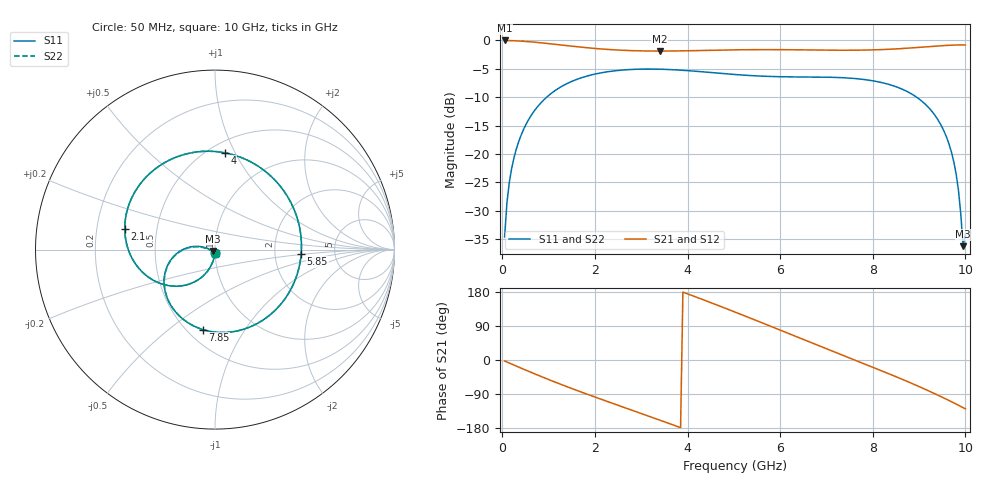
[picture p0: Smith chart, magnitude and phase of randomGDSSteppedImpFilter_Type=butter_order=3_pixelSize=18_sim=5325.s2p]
! freq	dB(S11)	phase(S11)	dB(S12)	phase(S12)
!  dB(S21)	phase(S21)	dB(S22)	phase(S22)
!S-par simulation data
#  GHz  S  DB  R 50
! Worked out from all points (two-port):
!   200 points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, 50 MHz to 10 GHz, reference 50 ohm
!   highest |S21| = 0.00 dB at 50 MHz (marker M1); lowest = -1.9 dB at 3.4 GHz (marker M2)
!   |S21| within 3 dB of the highest: start of sweep to end of sweep
!   lowest |S11| = -36.2 dB at 9.95 GHz (marker M3), VSWR 1.03, Z = 48.7 - j0.806 ohm
!   |S11| at or under -10 dB: start of sweep to 957.9 MHz; 8.948 GHz to end of sweep
!   |S22| runs from -34.8 to -5.0 dB; largest |S21 - S12| = 0
!   S11 on the Smith chart (normalised r, x): 50 MHz: 1.00, -0.04; 2.1 GHz: 0.32, +0.10; 4 GHz: 0.60, +0.91; 5.85 GHz: 2.84, -0.18; 7.85 GHz: 0.59, -0.66; 10 GHz: 1.01, -0.04
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0.05  -34.61 -92.7  -0.00 -2.7  -0.00 -2.7  -34.61 -92.7
0.1  -28.60 -95.6  -0.01 -5.4  -0.01 -5.4  -28.60 -95.6
0.2  -22.65 -101.1  -0.04 -10.7  -0.04 -10.7  -22.65 -101.1
0.5  -14.98 -116.9  -0.18 -26.4  -0.18 -26.4  -14.98 -116.9
1.1  -9.06 -147.0  -0.65 -56.4  -0.65 -56.4  -9.06 -147.0
1.75  -6.47 -177.3  -1.22 -86.6  -1.22 -86.6  -6.47 -177.2
2.1  -5.76 167.3  -1.48 -102.1  -1.48 -102.1  -5.76 167.3
3.4  -5.07 111.0  -1.87 -158.5  -1.87 -158.5  -5.07 111.0
4  -5.32 84.3  -1.82 174.6  -1.82 174.6  -5.32 84.4
4.5  -5.65 61.4  -1.74 151.5  -1.74 151.5  -5.65 61.5
5.05  -6.02 35.5  -1.65 125.3  -1.65 125.3  -6.02 35.7
5.85  -6.36 -2.8  -1.62 86.3  -1.62 86.3  -6.36 -2.6
6.7  -6.45 -43.8  -1.68 44.5  -1.68 44.5  -6.44 -43.5
7.3  -6.55 -72.5  -1.73 15.2  -1.73 15.2  -6.54 -72.2
7.85  -6.92 -98.8  -1.69 -11.7  -1.69 -11.7  -6.92 -98.4
8.35  -7.75 -122.9  -1.56 -36.4  -1.56 -36.4  -7.75 -122.6
9  -10.31 -155.5  -1.22 -70.1  -1.22 -70.1  -10.30 -155.0
9.55  -16.19 176.2  -0.90 -101.2  -0.90 -101.2  -16.17 177.2
9.8  -23.52 168.0  -0.81 -116.3  -0.81 -116.3  -23.41 170.4
9.9  -30.51 177.8  -0.79 -122.6  -0.79 -122.6  -30.05 -177.6
9.95  -36.24 -147.5  -0.79 -125.7  -0.79 -125.7  -34.81 -144.2
10  -34.08 -81.2  -0.79 -128.9  -0.79 -128.9  -33.22 -87.0
